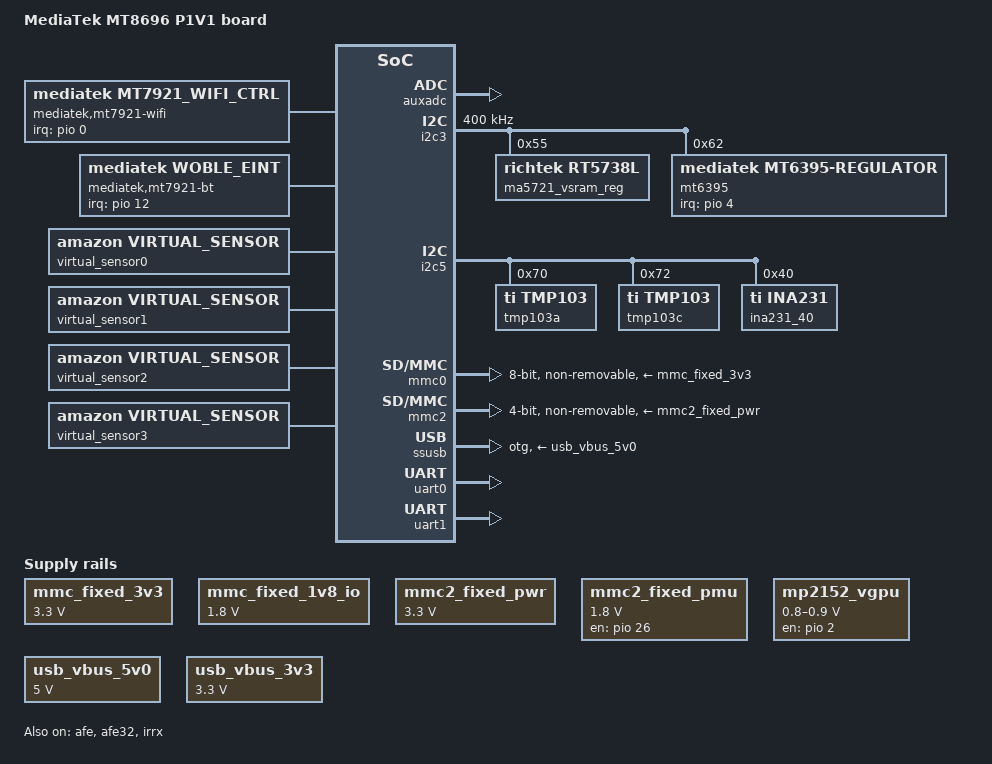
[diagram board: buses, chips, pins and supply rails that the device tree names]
// SPDX-License-Identifier: GPL-2.0+
/*
 * Copyright (c) 2020 MediaTek Inc.
 *
 */

/dts-v1/;

/plugin/;
#include <dt-bindings/interrupt-controller/irq.h>
#include "mediatek/mt8696-pinfunc.h"
#include <dt-bindings/gpio/gpio.h>
#include "mediatek/karat_thermal_zones.dtsi"

#define ROOT_NODE &odm

ROOT_NODE {
	model = "MediaTek MT8696 P1V1 board";
	extcon_usb: extcon_iddig {
		compatible = "linux,extcon-usb-gpio";
		status = "disabled";
	};

	/* WOW IRQ : GPIO0 => EINT0 */
	mediatek,mt7921-wifi {
		compatible = "mediatek,mt7921_wifi_ctrl";
		interrupt-parent = <&pio>;
		interrupts = <0 IRQ_TYPE_LEVEL_LOW 0 0x0>;
		status = "okay";
	};

	/* WOBLE IRQ  EINT1 => GPIO12 */
	mediatek,mt7921-bt {
		compatible = "mediatek,woble_eint";
		interrupt-parent = <&pio>;
		interrupts = <12 IRQ_TYPE_LEVEL_LOW 1 0x0>;
		status = "okay";
	};

	mmc_fixed_3v3: fixedregulator@0 {
		compatible = "regulator-fixed";
		regulator-name = "mmc_power";
		regulator-min-microvolt = <3300000>;
		regulator-max-microvolt = <3300000>;
		enable-active-high;
	};

	mmc_fixed_1v8_io: fixedregulator@1 {
		compatible = "regulator-fixed";
		regulator-name = "mmc_io";
		regulator-min-microvolt = <1800000>;
		regulator-max-microvolt = <1800000>;
		enable-active-high;
	};

	mmc2_fixed_pwr: fixedregulator@2 {
		compatible = "regulator-fixed";
		regulator-name = "sdio_power";
		regulator-min-microvolt = <3300000>;
		regulator-max-microvolt = <3300000>;
		enable-active-high;
		regulator-always-on;
	};

	mmc2_fixed_pmu: fixedregulator@3 {
		compatible = "regulator-fixed";
		regulator-name = "sdio_pmu";
		regulator-min-microvolt = <1800000>;
		regulator-max-microvolt = <1800000>;
		startup-delay-us = <200000>;
		gpio = <&pio 26 0>;
		enable-active-high;
	};

	mp2152_vgpu: gpio-regulator {
		compatible = "regulator-gpio";
		regulator-name = "mp2152_vgpu";
		regulator-min-microvolt = <800000>;
		regulator-max-microvolt = <900000>;
		enable-gpio = <&pio 2 GPIO_ACTIVE_HIGH>;
		gpios = <&pio 28 GPIO_ACTIVE_HIGH>;
		states = <800000 0x0
			  900000 0x1>;
		startup-delay-us = <5000>;
		enable-active-high;
	};

	usb_vbus_5v0: fixedregulator@4 {
		compatible = "regulator-fixed";
		regulator-name = "vbus";
		regulator-min-microvolt = <5000000>;
		regulator-max-microvolt = <5000000>;
		regulator-type = "voltage";
		regulator-always-on;
	};

	usb_vbus_3v3: fixedregulator@5 {
		compatible = "regulator-fixed";
		regulator-name = "usb vbus";
		regulator-min-microvolt = <3300000>;
		regulator-max-microvolt = <3300000>;
		regulator-always-on;
	};

	/* board sensor: thermistors */
	thermistor0: thermistor0 {
		compatible = "mtk,thermistor";
		status = "okay";
		device_name = "thermistor0";
		pull_up_resistor  = <10000>;  /* 10K,pull up resister, was 33k before HVT */
		over_critical_low = <195652>; /* base on 100K NTC temp default value -40 deg */
		pull_up_voltage   = <1800>;   /* 1.8V ,pull up voltage */
		ntc_table         = <7>;      /* need to be same for all thermistors */
		adc_channel       = <0>;
	};
	thermistor1: thermistor1 {
		compatible = "mtk,thermistor";
		status = "okay";
		device_name = "thermistor1";
		pull_up_resistor  = <10000>;  /* 10K,pull up resister, was 33k before HVT */
		over_critical_low = <195652>; /* base on 100K NTC temp default value -40 deg */
		pull_up_voltage   = <1800>;   /* 1.8V ,pull up voltage */
		ntc_table         = <7>;
		adc_channel       = <1>;
	};
	//top sesnor
	virtual_sensor0: virtual-sensor0 {
		compatible = "amazon,virtual_sensor";
		#thermal-sensor-cells = <0>;
		vs_components {
			vs_thermistor0 {
				vs_name = "odm:thermistor0";
				offset = <(-26000)>;
				alpha = <973>;
				weight = <496>;
			};
			vs_thermistor1 {
				vs_name = "odm:thermistor1";
				offset = <33800>;
				alpha = <1000>;
				weight = <194>;
			};
		};
		cooling_devices {
		};
	};
	// bottom sensor
	virtual_sensor1: virtual-sensor1 {
		compatible = "amazon,virtual_sensor";
		#thermal-sensor-cells = <0>;
		vs_components {
			//vs_soc_thermal {
				//vs_name = "1100b800.thermal";
				//offset = <104050>;
				//alpha = <101>;
				//weight = <(-338)>;
			//};
			vs_thermistor0 {
				vs_name = "odm:thermistor0";
				offset = <(-24000)>;
				alpha = <969>;
				weight = <492>;
			};
			vs_thermistor1 {
				vs_name = "odm:thermistor1";
				offset = <31700>;
				alpha = <1000>;
				weight = <209>;
			};
		};
		cooling_devices {
		};
	};
	// side sensor
	virtual_sensor2: virtual-sensor2 {
		compatible = "amazon,virtual_sensor";
		#thermal-sensor-cells = <0>;
		vs_components {
			vs_thermistor0 {
				vs_name = "odm:thermistor0";
				offset = <(-18800)>;
				alpha = <833>;
				weight = <594>;
			};
			vs_thermistor1 {
				vs_name = "odm:thermistor1";
				offset = <56200>;
				alpha = <788>;
				weight = <76>;
			};
		};
		cooling_devices {
		};
	};

	//soc virtual sensor
	virtual_sensor3: virtual-sensor3 {
		compatible = "amazon,virtual_sensor";
		#thermal-sensor-cells = <0>;
		vs_components {
			vs_soc_thermal {
				vs_name = "1100b800.thermal";
				offset = <0>;
				alpha = <90>;
				weight = <1000>;
			};
		};
		cooling_devices {
		};
	};

	amzn_thermal: amzn_thermal@0 {
		compatible = "amazon,amzn-thermal";
		cooling_devices{
			cpufreq_cool_cluster0 {
				min_state = <1000000>; /* no effect now */
				dyn_coeff = <140>; /* no effect now */
				cluster_id = <0>; /* no effect now */
				node_name = "cpus";
				device_type = "cpufreq";
			};
			cpucore_cool_cluster0 {
				min_state = <1>;
				dyn_coeff = <0>;
				cluster_id = <0>;
				node_name = "cpu_core_cluster0";
				device_type = "cpucore";
			};
			gpufreq_cool {
				min_state = <400>;
				dyn_coeff = <437>;
				cluster_id = <0>;
				node_name = "gpu";
				device_type = "gpufreq";
			};
			wifi_cool_device {
				min_state = <0>;
				node_name = "wifi_cool";
				device_type = "wifi";
			};
		};
		cpu_cluster0:cpu_core_cluster0 {
			#cooling-cells = <2>; /* min followed by max */
		};
		wifi_cool:wifi_cool {
			#cooling-cells = <2>; /* min followed by max */
		};
	};
};

&afe {
	mediatek,etdm-clock-modes = <0 1>;
	mediatek,etdm-out-data-modes = <1 1>;
	mediatek,etdm-in-data-modes = <1 1>;
	mediatek,hdmi-clk-force-on = <1>;
	status = "okay";
};

&afe32 {
	mediatek,etdm-in-data-modes = <1 1 0>;
	mediatek,etdm-out-data-modes = <1 1 1>;
	mediatek,spdif-in-arc-mux = <2>;
	status = "okay";
};

&auxadc {
	status = "okay";
};

&dramc {
	dram_type = <5>;
	support_ch_cnt = <2>;
	ch_cnt = <2>;
	rk_cnt = <1>; /* dummy */
	mr_cnt = <4>;
	freq_cnt = <10>;
	rk_size = <0x40000000>;  /* dummy */
	mr = <0 0 0 0 0 0 0 0>;  /* dummy */
	freq_step = <3733 3200 0 0 0 0 0 0 0 0>;
};

&hdmitx {
	pinctrl-names = "default";
	pinctrl-0 = <&hdmi_default>;
};

&i2c3 {
	status = "okay";
	clock-frequency = <400000>;

	ma5721_vsram_reg: rt5738_buck@55 {
		compatible = "richtek,rt5738l";
		status = "okay";
		reg = <0x55>;
		regulator-name = "VSRAM";
		regulator-min-microvolt = <300000>;
		regulator-max-microvolt = <1300000>;
		regulator-always-on;
		regulator-boot-on;
		ramp_up = <1>; /* 1 : 12mV/us */
		ramp_down = <3>; /* 3 : 3mV/us */
	};

	mt6395: mt6395@62 {
		compatible = "mediatek,mt6395-regulator";
		mt6395,irq-gpios = <&pio 4 0x0>;
		reg = <0x62>;
		status = "okay";
		pinctrl-names = "default";
		pinctrl-0 = <&pmic_pins_eint>;
	};
};

&i2c5 {
	pinctrl-names = "default";
	pinctrl-0 = <&i2c5_pins>;
	status = "okay";
	tmp103a: tmp103@70 {
		compatible = "ti,tmp103";
		device_name = "tmp103a";
		reg = <0x70>;
	};

	tmp103c: tmp103@72 {
		compatible = "ti,tmp103";
		device_name = "tmp103c";
		reg = <0x72>;
	};

	ina231_40: ina231@40 {
		compatible = "ti,ina231";
		reg = <0x40>;
		shunt-resistor = <40000>;
	};
};

&irrx {
	pinctrl-names = "default";
	pinctrl-0 = <&irrx_pins_ir_input>;
	status = "okay";
};

&mmc0 {
	status = "okay";
	pinctrl-names = "default", "state_uhs";
	pinctrl-0 = <&mmc0_pins_default>;
	pinctrl-1 = <&mmc0_pins_uhs>;
	bus-width = <8>;
	max-frequency = <200000000>;
	cap-mmc-highspeed;
	mmc-hs200-1_8v;
	mmc-hs400-1_8v;
	supports-cqe;
	hs400-ds-delay = <0x13014>;
	vmmc-supply = <&mmc_fixed_3v3>;
	vqmmc-supply = <&mmc_fixed_1v8_io>;
	non-removable;
	no-sd;
	no-sdio;
};

&mmc2 {
	status = "okay";
	pinctrl-names = "default", "state_uhs", "state_eint",
					"state_dat1", "state_low";
	pinctrl-0 = <&mmc2_pins_default>;
	pinctrl-1 = <&mmc2_pins_uhs>;
	pinctrl-2 = <&mmc2_pins_eint>;
	pinctrl-3 = <&mmc2_pins_dat1>;
	pinctrl-4 = <&mmc2_pins_low>;
	eint-gpios = <&pio 44 0>;
	bus-width = <4>;
	max-frequency = <200000000>;
	cap-sd-highspeed;
	/*sd-uhs-ddr208;*/
	sd-uhs-sdr104;
	sd-uhs-sdr50;
	sd-uhs-sdr25;
	keep-power-in-suspend;
	enable-sdio-wakeup;
	cap-sdio-irq;
	cap-sdio-async-int;
	no-mmc;
	no-sd;
	non-removable;
	vmmc-supply = <&mmc2_fixed_pwr>;
	vqmmc-supply = <&mmc2_fixed_pmu>;
};

&pio {
	pinctrl-names = "default";
	pinctrl-0 = <&gpio29_default>;
	gpio29_default: gpio29 {
		evb_detect {
			pinmux = <PINMUX_GPIO29__FUNC_GPIO29>;
			bias-disable;
		};
	};

	hdmi_default: hdmi {
		hdmi_cec {
			pinmux = <PINMUX_GPIO110__FUNC_HDMITX20_CEC>;
			bias-disable;
		};
		hdmi_pins {
			pinmux = <PINMUX_GPIO112__FUNC_HDMITX20_SCL>,
				<PINMUX_GPIO113__FUNC_HDMITX20_SDA>;
			bias-disable;
		};
		hdmi_hotplug {
			pinmux = <PINMUX_GPIO111__FUNC_HDMITX20_HTPLG>;
			bias-pull-down;
		};
		hdmi_5vctl {
			pinmux = <PINMUX_GPIO2__FUNC_GPIO2>;
		};
	};

	irrx_pins_ir_input: irrx_pin_ir {
		pins_cmd_dat {
			pinmux = <PINMUX_GPIO63__FUNC_IR_IN>;
			bias-disable;
		};
	};

	mmc0_pins_default: mmc0default {
		pins_cmd_dat {
			pinmux = <PINMUX_GPIO56__FUNC_MSDC0_DAT0>,
				 <PINMUX_GPIO55__FUNC_MSDC0_DAT1>,
				 <PINMUX_GPIO54__FUNC_MSDC0_DAT2>,
				 <PINMUX_GPIO53__FUNC_MSDC0_DAT3>,
				 <PINMUX_GPIO52__FUNC_MSDC0_DAT4>,
				 <PINMUX_GPIO51__FUNC_MSDC0_DAT5>,
				 <PINMUX_GPIO50__FUNC_MSDC0_DAT6>,
				 <PINMUX_GPIO49__FUNC_MSDC0_DAT7>,
				 <PINMUX_GPIO57__FUNC_MSDC0_CMD>;
			input-enable;
			bias-pull-up;
		};

		pins_clk {
			pinmux = <PINMUX_GPIO48__FUNC_MSDC0_CLK>;
			bias-pull-down;
		};

		pins_rst {
			pinmux = <PINMUX_GPIO58__FUNC_MSDC0_RSTB>;
			bias-pull-up;
		};
	};

	mmc0_pins_uhs: mmc0 {
		pins_cmd_dat {
			pinmux = <PINMUX_GPIO56__FUNC_MSDC0_DAT0>,
				 <PINMUX_GPIO55__FUNC_MSDC0_DAT1>,
				 <PINMUX_GPIO54__FUNC_MSDC0_DAT2>,
				 <PINMUX_GPIO53__FUNC_MSDC0_DAT3>,
				 <PINMUX_GPIO52__FUNC_MSDC0_DAT4>,
				 <PINMUX_GPIO51__FUNC_MSDC0_DAT5>,
				 <PINMUX_GPIO50__FUNC_MSDC0_DAT6>,
				 <PINMUX_GPIO49__FUNC_MSDC0_DAT7>,
				 <PINMUX_GPIO57__FUNC_MSDC0_CMD>;
			input-enable;
			drive-strength = <MTK_DRIVE_8mA>;
			bias-pull-up = <MTK_PUPD_SET_R1R0_01>;
		};

		pins_clk {
			pinmux = <PINMUX_GPIO48__FUNC_MSDC0_CLK>;
			drive-strength = <MTK_DRIVE_4mA>;
			bias-pull-down = <MTK_PUPD_SET_R1R0_10>;
		};

		pins_ds {
			pinmux = <PINMUX_GPIO47__FUNC_MSDC0_DSL>;
			drive-strength = <MTK_DRIVE_6mA>;
			bias-pull-down = <MTK_PUPD_SET_R1R0_10>;
		};

		pins_rst {
			pinmux = <PINMUX_GPIO58__FUNC_MSDC0_RSTB>;
			drive-strength = <MTK_DRIVE_6mA>;
			bias-pull-up;
		};
	};

	mmc2_pins_default: mmc2default {
		pins_clk {
			pinmux = <PINMUX_GPIO40__FUNC_MSDC2_CLK>;
			drive-strength = <MTK_DRIVE_6mA>;
			bias-pull-down = <MTK_PUPD_SET_R1R0_10>;
		};

		pins_cmd_dat {
			pinmux = <PINMUX_GPIO45__FUNC_MSDC2_DAT0>,
				 <PINMUX_GPIO44__FUNC_MSDC2_DAT1>,
				 <PINMUX_GPIO43__FUNC_MSDC2_DAT2>,
				 <PINMUX_GPIO42__FUNC_MSDC2_DAT3>,
				 <PINMUX_GPIO46__FUNC_MSDC2_CMD>;
			input-enable;
			drive-strength = <MTK_DRIVE_4mA>;
			bias-pull-up = <MTK_PUPD_SET_R1R0_01>;
		};
	};

	mmc2_pins_uhs: mmc2 {
		pins_clk {
			pinmux = <PINMUX_GPIO40__FUNC_MSDC2_CLK>;
			drive-strength = <MTK_DRIVE_6mA>;
			bias-pull-down = <MTK_PUPD_SET_R1R0_10>;
		};

		pins_cmd_dat {
			pinmux = <PINMUX_GPIO45__FUNC_MSDC2_DAT0>,
				 <PINMUX_GPIO44__FUNC_MSDC2_DAT1>,
				 <PINMUX_GPIO43__FUNC_MSDC2_DAT2>,
				 <PINMUX_GPIO42__FUNC_MSDC2_DAT3>,
				 <PINMUX_GPIO46__FUNC_MSDC2_CMD>;
			input-enable;
			drive-strength = <MTK_DRIVE_4mA>;
			bias-pull-up = <MTK_PUPD_SET_R1R0_01>;
		};

		pins_ds {
			pinmux = <PINMUX_GPIO41__FUNC_MSDC2_DSL>;
			drive-strength = <MTK_DRIVE_4mA>;
			bias-pull-down = <MTK_PUPD_SET_R1R0_10>;
		};
	};

	mmc2_pins_eint: dat1_eint {
		pins_dat1 {
			pinmux = <PINMUX_GPIO44__FUNC_GPIO44>;
			input-enable;
			bias-pull-up = <MTK_PUPD_SET_R1R0_01>;
		};
	};

	mmc2_pins_dat1: sdio_dat1 {
		pins_dat1 {
			pinmux = <PINMUX_GPIO44__FUNC_MSDC2_DAT1>;
			input-enable;
			drive-strength = <MTK_DRIVE_4mA>;
			bias-pull-up = <MTK_PUPD_SET_R1R0_01>;
		};
	};

	mmc2_pins_low: sdio_low {
		pins_low {
			pinmux = <PINMUX_GPIO45__FUNC_GPIO45>,
				 <PINMUX_GPIO43__FUNC_GPIO43>,
				 <PINMUX_GPIO42__FUNC_GPIO42>,
				 <PINMUX_GPIO46__FUNC_GPIO46>,
				 <PINMUX_GPIO41__FUNC_GPIO41>;
			input-disable;
			bias-disable;
		};
	};

	pmic_pins_eint: pmic_pins_eint{
		pmic_pins {
			pinmux = <PINMUX_GPIO4__FUNC_GPIO4>;
			bias-disable;
		};
	};

	i2c5_pins: i2c5{
		pins_bus {
			pinmux = <PINMUX_GPIO115__FUNC_SDA5>,
				 <PINMUX_GPIO114__FUNC_SCL5>;
			drive-strength = <MTK_I2C_DRIVE_001>;
			bias-disable;
			input-enable;
		};
	};
};


&reserved_memory {
          wifi_mem: wifi-reserved-memory@59600000{
		  compatible = "mediatek,wifi-reserved-memory";
		  reusable;
		  reg = <0 0x59600000 0 0x500000>;
		  alignment = <0 0x1000>;
	  };
};

&ssusb {
	vusb33-supply = <&usb_vbus_3v3>;
	vbus-supply = <&usb_vbus_5v0>;
	/* valid string: "", "host", "peripheral", "otg" */
	dr_mode = "otg";

	/*usb3-lpm-capable;*/
	/* wakeup-source; */
	maximum-speed = "high-speed";
	enable-manual-drd;

	default_mode = "peripheral";

	status = "okay";
};

&uart0 {
	status = "okay";
};

&uart1 {
	status = "okay";
};

&scpsys {
	mfg-supply = <&mp2152_vgpu>;
};

&mfg {
	reg-vgpu-supply = <&mp2152_vgpu>;
};

&atf_aee_log_reserved_mem {
	compatible = "mediatek,mt8696-atf-aee-log";
	reg = <0 0x57240000 0 0x1000>;
};

&mboot_params_reserved_memory {
	compatible = "mediatek,mboot_params";
	reg = <0 0x59400000 0 0x1000>;
};

&ramoops {
	compatible = "ramoops";
	reg = <0 0x59410000 0 0x40000>;
	console-size = <0x40000>;
	pmsg-size = <0x0>;
};


&mrdump_cb_reserved_memory {
	compatible = "mediatek,mrdump_cb";
	reg = <0 0x59500000 0 0x1000>;
};
#include "mediatek/mt6395.dtsi"
